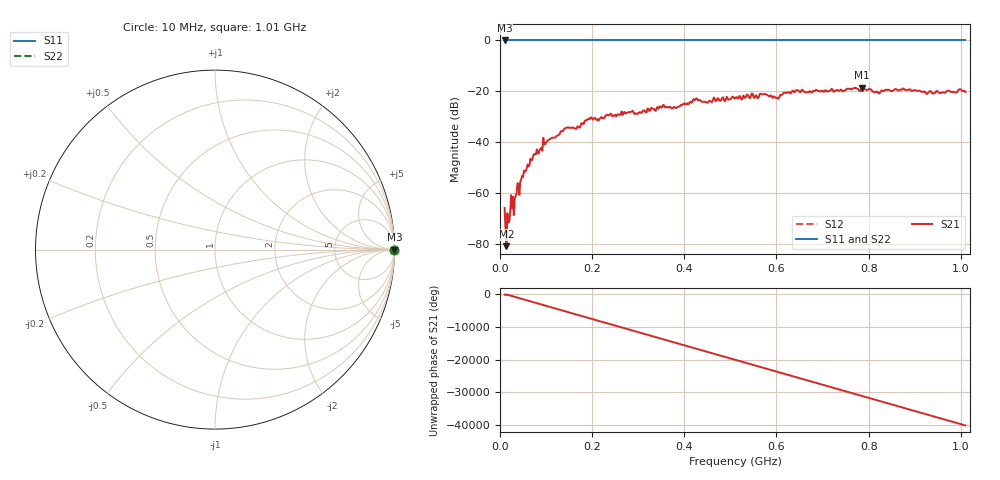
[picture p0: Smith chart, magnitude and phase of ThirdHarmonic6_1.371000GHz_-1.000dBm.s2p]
! 8/16/2025 3:32:08 PM
! C:\ANRITSUVNA\TEMP\TEMP.S2P
! CHANNEL.1
! TR.MEASUREMENT
! RAW.DATA
! RF.CORRECTION.OFF
! AVERAGING.OFF
! IF.BANDWIDTH: 5KHZ
! SWEEPTYPE:  FREQ.SWEEP(Linear)
! Reference Plane Port Info
! PORT:  PORT1  PORT2
! DISTANCE:  0  m  0  m
! TIME:  0  s  0  s
! PHASE.OFFSET:  0  deg.  0  deg.
! LOSS:  0  dB  0  dB
! REF.LOSS:  0  dB  0  dB
! REF.FREQ:  0  Hz  0  Hz
! Power Info
! POWER:  -20  dBm  -20  dBm
! EFF.POWER:  -20  dBm  -20  dBm
! SOURCE.ATTEN:  0  dB  0  dB
! TEST.ATTEN:  0  dB  0  dB
# GHZ S RI R 50.0
! FREQ.GHZ  S11RE  S11IM  S21RE  S21IM  S12RE  S12IM  S22RE  S22IM
!; PortSelection: Port_12
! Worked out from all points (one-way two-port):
!   501 points, 10 MHz to 1.01 GHz, reference 50 ohm
!   highest |S21| = -18.51 dB at 786 MHz (marker M1); lowest = -80.7 dB at 14 MHz (marker M2)
!   lowest |S11| = 0.0 dB at 10 MHz (marker M3)
!   |S11| at or under -10 dB: nowhere
!   |S22| runs from 0.0 to 0.0 dB; largest |S21 - S12| = 1.1
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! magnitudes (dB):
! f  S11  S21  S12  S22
! 10 MHz  0.0  -65.7  0.0  0.0
! 14 MHz  0.0  -80.7  0.0  0.0
! 16 MHz  0.0  -67.8  0.0  0.0
! 18 MHz  0.0  -71.4  0.0  0.0
! 20 MHz  0.0  -71.1  0.0  0.0
! 48 MHz  0.0  -53.2  0.0  0.0
! 76 MHz  0.0  -44.8  0.0  0.0
! 142 MHz  0.0  -34.5  0.0  0.0
! 178 MHz  0.0  -32.4  0.0  0.0
! 194 MHz  0.0  -30.9  0.0  0.0
! 344 MHz  0.0  -26.8  0.0  0.0
! 384 MHz  0.0  -26.3  0.0  0.0
! 424 MHz  0.0  -23.3  0.0  0.0
! 448 MHz  0.0  -24.3  0.0  0.0
! 510 MHz  0.0  -22.9  0.0  0.0
! 572 MHz  0.0  -21.1  0.0  0.0
! 602 MHz  0.0  -22.7  0.0  0.0
! 644 MHz  0.0  -19.6  0.0  0.0
! 678 MHz  0.0  -20.2  0.0  0.0
! 786 MHz  0.0  -18.5  0.0  0.0
! 844 MHz  0.0  -19.3  0.0  0.0
! 1.01 GHz  0.0  -20.2  0.0  0.0
